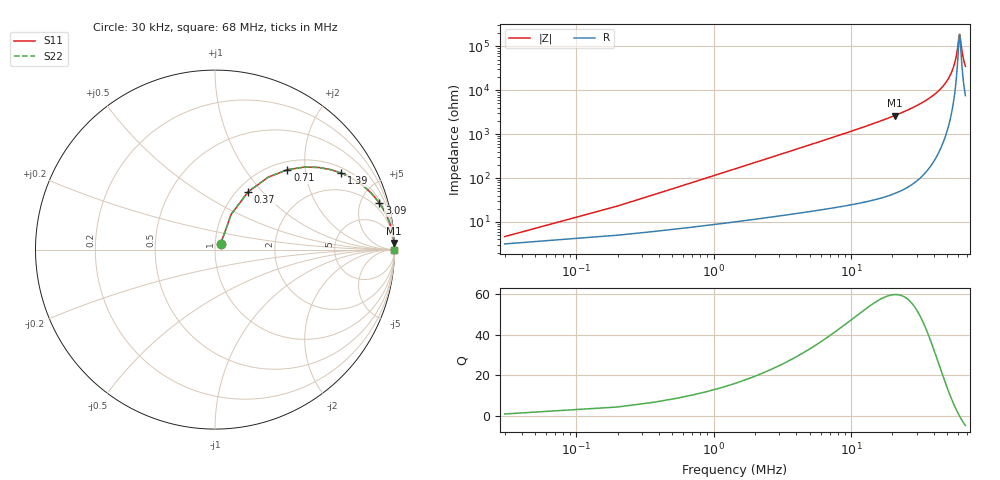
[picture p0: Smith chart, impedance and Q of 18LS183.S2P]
! Coilcraft 1812LS-183 Chip Inductor
! 8 August 2002
# MHZ S MA R 50
!Freq  MagS11  AngS11  MagS21  AngS21  MagS12  AngS12  MagS22  AngS22
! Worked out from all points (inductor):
!   401 points, 30 kHz to 68 MHz, reference 50 ohm
!   read as one part in series: L = 18 uH near 370 kHz
!   highest Q = 59.6 at 20.77 MHz (marker M1), where L = 20.3 uH
!   self-resonance near 61.57 MHz
!   S11 on the Smith chart (normalised r, x): 30 kHz: 1.06, +0.07; 370 kHz: 1.12, +0.84; 710 kHz: 1.15, +1.61; 1.39 MHz: 1.20, +3.15; 3.09 MHz: 1.28, +7.01; 68 MHz: open
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0.03  0.04496 45.1  0.9688 -1.9  0.9688 -1.9  0.04496 45.1
0.37  0.3708 60.2  0.8768 -21.5  0.8768 -21.5  0.3708 60.2
0.54  0.4991 53.8  0.812 -29.7  0.812 -29.7  0.4991 53.8
0.71  0.6006 47.8  0.7445 -36.7  0.7445 -36.7  0.6006 47.8
1.05  0.7392 38.2  0.6205 -47.5  0.6205 -47.5  0.7392 38.2
1.39  0.8213 31.3  0.5211 -55.0  0.5211 -55.0  0.8213 31.3
2.07  0.9038 22.6  0.3852 -64.5  0.3852 -64.5  0.9038 22.6
3.09  0.9518 15.7  0.2714 -72.0  0.2714 -72.0  0.9518 15.7
6.49  0.9876 7.6  0.133 -80.8  0.133 -80.8  0.9876 7.6
11.42  0.9957 4.3  0.07444 -84.6  0.07444 -84.6  0.9957 4.3
20.77  0.9987 2.2  0.03769 -86.9  0.03769 -86.9  0.9987 2.2
22.81  0.9989 1.9  0.03342 -87.1  0.03342 -87.1  0.9989 1.9
34.03  0.9994 1.0  0.01806 -87.7  0.01806 -87.7  0.9994 1.0
45.42  0.9996 0.5  0.008917 -86.9  0.008917 -86.9  0.9996 0.5
52.22  0.9995 0.3  0.004817 -84.4  0.004817 -84.4  0.9995 0.3
56.81  0.9995 0.1  0.002414 -78.3  0.002414 -78.3  0.9995 0.1
58.68  0.9995 0.1  0.001521 -70.6  0.001521 -70.6  0.9995 0.1
61.06  0.9995 0.0  0.0006064 -29.3  0.0006064 -29.3  0.9995 0.0
61.74  0.9995 -0.0  0.0005367 2.1  0.0005367 2.1  0.9995 -0.0
62.25  0.9995 -0.0  0.0005992 25.2  0.0005992 25.2  0.9995 -0.0
64.97  0.9994 -0.1  0.001587 68.7  0.001587 68.7  0.9994 -0.1
68  0.9994 -0.2  0.002854 77.4  0.002854 77.4  0.9994 -0.2
